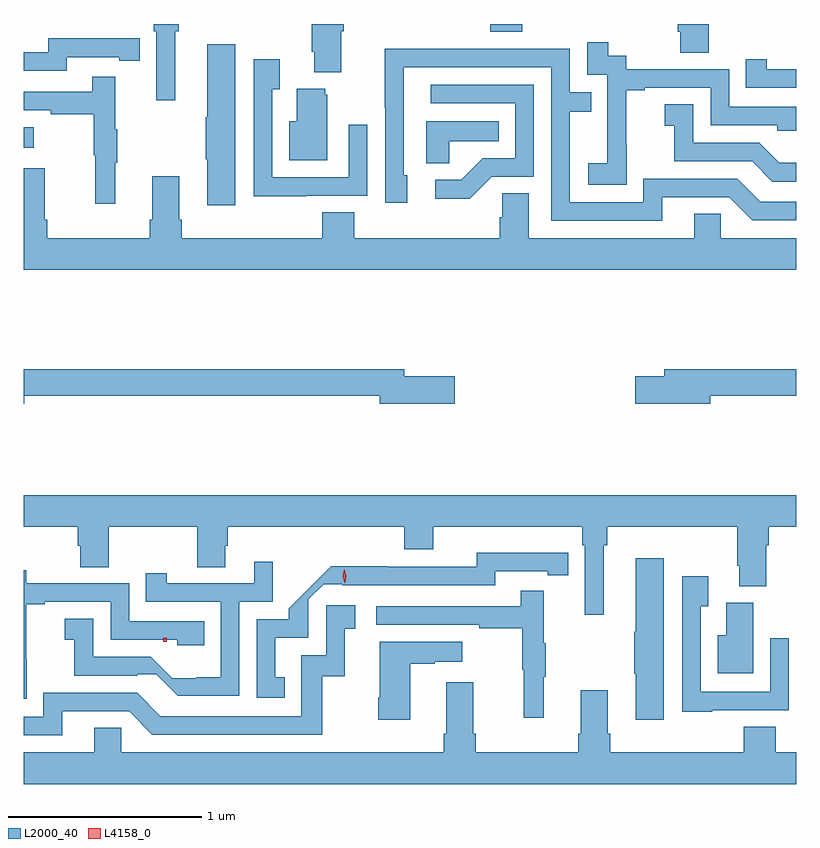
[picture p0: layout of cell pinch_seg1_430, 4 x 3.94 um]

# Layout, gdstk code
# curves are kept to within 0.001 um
import gdstk
lib = gdstk.Library(unit=1e-6, precision=1e-09)
def R(c, l, rs):  # rectangles x0, y0, x1, y1
    for r in rs: c.add(gdstk.rectangle(r[:2], r[2:], *l))
def P(c, l, *ps):  # polygons
    for p in ps: c.add(gdstk.Polygon(p, *l))
L2000_40 = (2000, 40)
L4158_0 = (4158, 0)

pinch_seg1_430 = lib.new_cell('pinch_seg1_430')
R(pinch_seg1_430, L2000_40, [(909.643,519.065,909.694,519.169), (912.059,519.665,912.224,519.705)])
P(pinch_seg1_430, L2000_40, [(910.426,519.668),(910.445,519.668),(910.445,519.705),(910.316,519.705),(910.316,519.668),(910.329,519.668),(910.329,519.309),(910.426,519.309)],
  [(913.191,519.705),(913.031,519.705),(913.031,519.666),(913.043,519.666),(913.043,519.556),(913.191,519.556)],
  [(911.287,519.668),(911.3,519.668),(911.3,519.705),(911.135,519.705),(911.135,519.562),(911.147,519.562),(911.147,519.455),(911.287,519.455)],
  [(909.864,519.534),(910.136,519.534),(910.136,519.514),(910.244,519.514),(910.244,519.63),(910.136,519.63),(910.136,519.631),(909.768,519.631),(909.768,519.558),(909.643,519.558),(909.643,519.462),(909.864,519.462)],
  [(912.765,519.079),(912.764,519.079),(912.764,519.363),(912.859,519.363),(912.859,519.375),(913.2,519.375),(913.2,519.18),(913.545,519.18),(913.545,519.153),(913.643,519.153),(913.643,519.276),(913.296,519.276),(913.296,519.471),(912.762,519.471),(912.762,519.54),(912.67,519.54),(912.67,519.61),(912.561,519.61),(912.561,519.441),(912.666,519.441),(912.666,519.212),(912.665,519.212),(912.665,518.983),(912.567,518.983),(912.567,518.873),(912.765,518.873)],
  [(910.738,519.601),(910.592,519.601),(910.592,519.221),(910.585,519.221),(910.585,519.004),(910.592,519.004),(910.592,518.766),(910.738,518.766)],
  [(912.949,518.808),(913.296,518.808),(913.416,518.688),(913.643,518.688),(913.643,518.784),(913.458,518.784),(913.338,518.904),(912.852,518.904),(912.852,518.781),(912.471,518.781),(912.471,519.25),(912.581,519.25),(912.581,519.351),(912.471,519.351),(912.471,519.576),(911.975,519.576),(911.975,519.578),(911.512,519.578),(911.512,519.271),(911.514,519.271),(911.514,518.778),(911.629,518.778),(911.629,518.922),(911.61,518.922),(911.61,519.48),(912.375,519.48),(912.375,518.685),(912.949,518.685)],
  [(913.643,519.471),(913.492,519.471),(913.492,519.523),(913.381,519.523),(913.381,519.375),(913.643,519.375)],
  [(911.105,518.814),(911.421,518.814),(911.421,519.184),(911.325,519.184),(911.325,518.91),(910.929,518.91),(910.929,519.367),(910.969,519.367),(910.969,519.523),(910.833,519.523),(910.833,518.813),(911.105,518.813)],
  [(910.115,518.987),(910.126,518.987),(910.126,519.161),(910.115,519.161),(910.115,519.433),(909.997,519.433),(909.997,519.354),(909.643,519.354),(909.643,519.258),(909.781,519.258),(909.781,519.238),(910.005,519.238),(910.005,519.024),(910.012,519.024),(910.012,518.775),(910.115,518.775)],
  [(912.066,518.913),(912.285,518.913),(912.285,519.39),(911.751,519.39),(911.751,519.294),(912.189,519.294),(912.189,519.009),(912.02,519.009),(911.909,518.898),(911.775,518.898),(911.775,518.801),(911.953,518.801)],
  [(911.215,519.339),(911.204,519.339),(911.204,519.37),(911.057,519.37),(911.057,519.202),(911.018,519.202),(911.018,518.999),(911.215,518.999)],
  [(913.643,518.986),(913.556,518.986),(913.452,519.09),(913.11,519.09),(913.11,519.289),(912.963,519.289),(912.963,519.179),(913.012,519.179),(913.012,518.994),(913.415,518.994),(913.52,518.889),(913.643,518.889)],
  [(911.847,519.098),(912.104,519.098),(912.104,519.202),(911.726,519.202),(911.726,518.983),(911.847,518.983)],
  [(913.643,518.596),(913.254,518.596),(913.254,518.723),(913.115,518.723),(913.115,518.596),(912.259,518.596),(912.259,518.828),(912.12,518.828),(912.12,518.705),(912.107,518.705),(912.107,518.596),(911.354,518.596),(911.354,518.729),(911.189,518.729),(911.189,518.596),(910.46,518.596),(910.46,518.692),(910.447,518.692),(910.447,518.917),(910.307,518.917),(910.307,518.692),(910.295,518.692),(910.295,518.596),(909.764,518.596),(909.764,518.692),(909.751,518.692),(909.751,518.959),(909.643,518.959),(909.643,518.432),(913.643,518.432)],
  [(913.198,517.78),(913.643,517.78),(913.643,517.916),(912.959,517.916),(912.959,517.88),(912.81,517.88),(912.81,517.738),(913.198,517.738)],
  [(909.646,517.78),(911.486,517.78),(911.486,517.738),(911.875,517.738),(911.875,517.88),(911.614,517.88),(911.614,517.916),(909.643,517.916),(909.643,517.738),(909.646,517.738)],
  [(909.643,517.1),(909.923,517.1),(909.923,517.002),(909.935,517.002),(909.935,516.892),(910.083,516.892),(910.083,517.1),(910.54,517.1),(910.54,516.892),(910.687,516.892),(910.687,517.002),(910.7,517.002),(910.7,517.1),(911.612,517.1),(911.612,516.983),(911.764,516.983),(911.764,517.1),(912.536,517.1),(912.536,517.004),(912.549,517.004),(912.549,516.645),(912.646,516.645),(912.646,517.004),(912.665,517.004),(912.665,517.1),(913.337,517.1),(913.337,516.898),(913.349,516.898),(913.349,516.793),(913.489,516.793),(913.489,517.004),(913.502,517.004),(913.502,517.1),(913.643,517.1),(913.643,517.264),(909.643,517.264)],
  [(910.994,516.321),(910.945,516.321),(910.945,516.525),(911.116,516.525),(911.116,516.724),(911.196,516.804),(911.293,516.804),(911.293,516.798),(912.084,516.798),(912.084,516.87),(912.356,516.87),(912.356,516.85),(912.464,516.85),(912.464,516.966),(911.988,516.967),(911.988,516.894),(911.235,516.895),(911.015,516.676),(911.015,516.621),(910.848,516.621),(910.848,516.216),(910.994,516.216)],
  [(912.958,516.937),(912.812,516.937),(912.812,516.557),(912.805,516.557),(912.805,516.34),(912.812,516.34),(912.812,516.102),(912.958,516.102)],
  [(910.758,516.711),(910.932,516.711),(910.932,516.919),(910.835,516.919),(910.835,516.807),(910.384,516.807),(910.384,516.859),(910.273,516.859),(910.273,516.711),(910.662,516.711),(910.662,516.322),(910.536,516.322),(910.536,516.315),(910.412,516.315),(910.301,516.426),(910.002,516.426),(910.002,516.625),(909.855,516.625),(909.855,516.515),(909.904,516.515),(909.904,516.33),(910.231,516.33),(910.231,516.336),(910.328,516.336),(910.439,516.225),(910.758,516.225)],
  [(909.657,516.415),(909.656,516.415),(909.656,516.699),(909.751,516.699),(909.751,516.711),(910.092,516.711),(910.092,516.516),(910.437,516.516),(910.437,516.488),(910.577,516.488),(910.577,516.612),(910.188,516.612),(910.188,516.807),(909.654,516.807),(909.654,516.876),(909.643,516.876),(909.643,516.209),(909.657,516.209)],
  [(913.209,516.15),(913.605,516.15),(913.605,516.523),(913.509,516.523),(913.509,516.246),(913.149,516.246),(913.149,516.688),(913.189,516.688),(913.189,516.844),(913.053,516.844),(913.053,516.143),(913.209,516.143)],
  [(912.335,516.323),(912.346,516.323),(912.346,516.497),(912.335,516.497),(912.335,516.769),(912.217,516.769),(912.217,516.69),(911.469,516.69),(911.469,516.594),(912.001,516.594),(912.001,516.574),(912.225,516.574),(912.225,516.36),(912.232,516.36),(912.232,516.111),(912.335,516.111)],
  [(913.42,516.708),(913.28,516.708),(913.28,516.538),(913.238,516.538),(913.238,516.341),(913.42,516.341)],
  [(909.841,516.144),(910.188,516.144),(910.308,516.024),(911.188,516.024),(911.188,516.327),(911.306,516.327),(911.306,516.573),(911.359,516.573),(911.359,516.694),(911.208,516.694),(911.208,516.435),(911.079,516.435),(911.079,516.12),(910.35,516.12),(910.23,516.24),(909.744,516.24),(909.744,516.117),(909.643,516.117),(909.643,516.021),(909.841,516.021)],
  [(911.644,516.391),(911.771,516.391),(911.771,516.401),(911.914,516.401),(911.914,516.505),(911.486,516.505),(911.486,516.214),(911.479,516.214),(911.479,516.102),(911.644,516.102)],
  [(913.643,515.932),(913.538,515.932),(913.538,516.065),(913.373,516.065),(913.373,515.932),(912.68,515.932),(912.68,516.028),(912.667,516.028),(912.667,516.253),(912.527,516.253),(912.527,516.028),(912.515,516.028),(912.515,515.932),(911.984,515.932),(911.984,516.028),(911.971,516.028),(911.971,516.295),(911.831,516.295),(911.831,516.028),(911.819,516.028),(911.819,515.932),(910.146,515.932),(910.146,516.059),(910.007,516.059),(910.007,515.932),(909.643,515.932),(909.643,515.768),(913.643,515.768)])
R(pinch_seg1_430, L4158_0, [(910.364,516.506,910.384,516.526)])
P(pinch_seg1_430, L4158_0, [(911.306,516.81),(911.294,516.845),(911.302,516.881),(911.302,516.881),(911.302,516.881),(911.314,516.846),(911.307,516.81),(911.307,516.81)])

lib.write_gds('pinch_seg1_430.gds')
